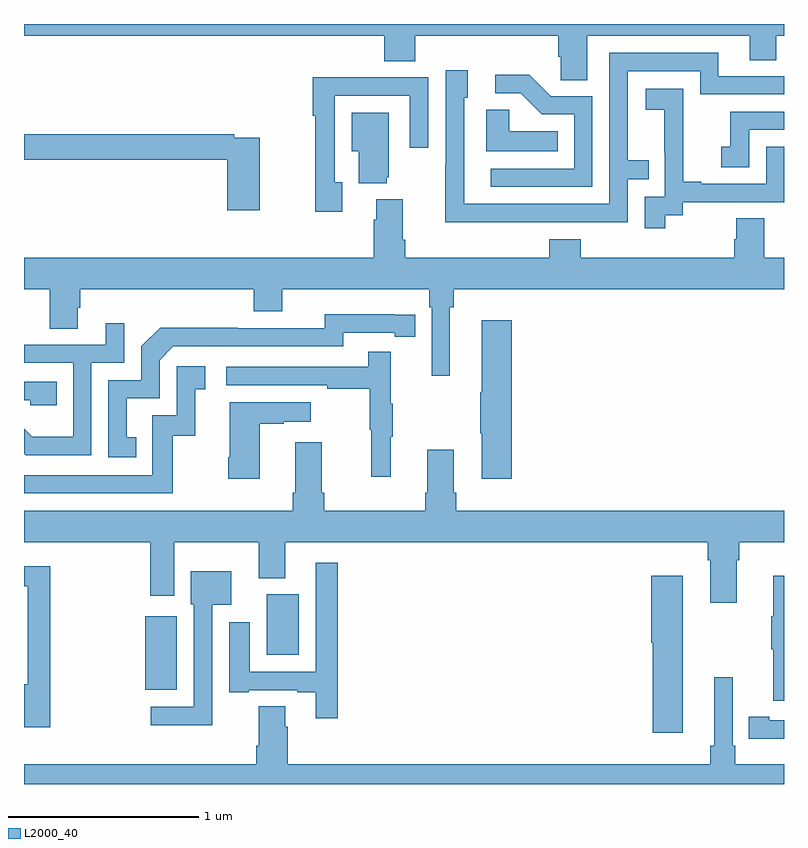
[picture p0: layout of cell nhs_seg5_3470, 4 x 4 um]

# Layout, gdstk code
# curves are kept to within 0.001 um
import gdstk
lib = gdstk.Library(unit=1e-6, precision=1e-09)
def R(c, l, rs):  # rectangles x0, y0, x1, y1
    for r in rs: c.add(gdstk.rectangle(r[:2], r[2:], *l))
def P(c, l, *ps):  # polygons
    for p in ps: c.add(gdstk.Polygon(p, *l))
L2000_40 = (2000, 40)

nhs_seg5_3470 = lib.new_cell('nhs_seg5_3470')
R(nhs_seg5_3470, L2000_40, [(315.638,877.295,315.805,877.681), (316.277,877.478,316.447,877.798)])
P(nhs_seg5_3470, L2000_40, [(317.965,880.736),(318.821,880.736),(318.821,880.609),(318.96,880.609),(318.96,880.736),(319,880.736),(319,880.799),(315,880.799),(315,880.736),(316.895,880.736),(316.895,880.603),(317.06,880.603),(317.06,880.736),(317.813,880.736),(317.813,880.627),(317.826,880.627),(317.826,880.504),(317.965,880.504)],
  [(317.681,879.756),(318.177,879.756),(318.177,879.981),(318.287,879.981),(318.287,880.082),(318.177,880.082),(318.177,880.551),(318.558,880.551),(318.558,880.428),(319,880.428),(319,880.524),(318.655,880.524),(318.655,880.647),(318.081,880.647),(318.081,879.852),(317.316,879.852),(317.316,880.41),(317.335,880.41),(317.335,880.555),(317.22,880.555),(317.22,880.061),(317.218,880.061),(317.218,879.755),(317.681,879.755)],
  [(317.991,880.419),(317.772,880.419),(317.659,880.532),(317.481,880.532),(317.481,880.434),(317.615,880.434),(317.726,880.323),(317.895,880.323),(317.895,880.038),(317.457,880.038),(317.457,879.942),(317.991,879.942)],
  [(316.675,879.966),(316.635,879.966),(316.635,880.422),(317.031,880.422),(317.031,880.149),(317.127,880.149),(317.127,880.518),(316.811,880.518),(316.811,880.52),(316.519,880.52),(316.519,880.315),(316.534,880.315),(316.534,879.81),(316.675,879.81)],
  [(318.376,879.793),(318.468,879.793),(318.468,879.861),(319,879.861),(319,880.152),(318.906,880.152),(318.906,879.957),(318.565,879.957),(318.565,879.97),(318.47,879.97),(318.47,880.253),(318.471,880.253),(318.471,880.459),(318.273,880.459),(318.273,880.349),(318.371,880.349),(318.371,880.121),(318.372,880.121),(318.372,879.891),(318.267,879.891),(318.267,879.723),(318.376,879.723)],
  [(317.81,880.234),(317.553,880.234),(317.553,880.349),(317.432,880.349),(317.432,880.13),(317.81,880.13)],
  [(318.816,880.242),(319,880.242),(319,880.338),(318.718,880.338),(318.718,880.153),(318.669,880.153),(318.669,880.044),(318.816,880.044)],
  [(316.91,879.993),(316.921,879.993),(316.921,880.333),(316.724,880.333),(316.724,880.13),(316.763,880.13),(316.763,879.962),(316.91,879.962)],
  [(316.24,880.2),(316.106,880.2),(316.106,880.22),(315,880.22),(315,880.084),(316.07,880.084),(316.07,879.819),(316.24,879.819)],
  [(317.242,879.308),(317.261,879.308),(317.261,879.404),(319,879.404),(319,879.568),(318.897,879.568),(318.897,879.776),(318.749,879.776),(318.749,879.666),(318.737,879.666),(318.737,879.568),(317.93,879.568),(317.93,879.667),(317.765,879.667),(317.765,879.568),(317.006,879.568),(317.006,879.664),(316.993,879.664),(316.993,879.877),(316.853,879.877),(316.853,879.77),(316.841,879.77),(316.841,879.568),(315,879.568),(315,879.404),(315.136,879.404),(315.136,879.196),(315.283,879.196),(315.283,879.306),(315.296,879.306),(315.296,879.404),(316.208,879.404),(316.208,879.287),(316.36,879.287),(316.36,879.404),(317.132,879.404),(317.132,879.308),(317.145,879.308),(317.145,878.949),(317.242,878.949)],
  [(315.59,878.625),(315.541,878.625),(315.541,878.829),(315.714,878.829),(315.714,879.03),(315.786,879.102),(316.68,879.102),(316.68,879.174),(316.952,879.174),(316.952,879.154),(317.06,879.154),(317.06,879.27),(316.584,879.271),(316.584,879.198),(316.124,879.198),(316.124,879.2),(315.716,879.2),(315.618,879.102),(315.618,878.925),(315.444,878.925),(315.444,878.52),(315.59,878.52)],
  [(317.567,879.241),(317.408,879.241),(317.408,878.861),(317.401,878.861),(317.401,878.644),(317.408,878.644),(317.408,878.406),(317.567,878.406)],
  [(315.354,879.015),(315.528,879.015),(315.528,879.223),(315.431,879.223),(315.431,879.111),(315,879.111),(315,879.015),(315.258,879.015),(315.258,878.626),(315.044,878.626),(315,878.67),(315,878.537),(315.008,878.529),(315.354,878.529)],
  [(316.931,878.627),(316.942,878.627),(316.942,878.801),(316.931,878.801),(316.931,879.073),(316.813,879.073),(316.813,878.994),(316.065,878.994),(316.065,878.898),(316.597,878.898),(316.597,878.878),(316.821,878.878),(316.821,878.664),(316.828,878.664),(316.828,878.415),(316.931,878.415)],
  [(315.784,878.631),(315.902,878.631),(315.902,878.877),(315.955,878.877),(315.955,878.998),(315.804,878.998),(315.804,878.739),(315.675,878.739),(315.675,878.424),(315,878.424),(315,878.328),(315.784,878.328)],
  [(315.173,878.916),(315,878.916),(315,878.82),(315.033,878.82),(315.033,878.793),(315.173,878.793)],
  [(316.24,878.695),(316.367,878.695),(316.367,878.705),(316.51,878.705),(316.51,878.809),(316.082,878.809),(316.082,878.518),(316.075,878.518),(316.075,878.406),(316.24,878.406)],
  [(318.751,877.976),(318.764,877.976),(318.764,878.072),(319,878.072),(319,878.236),(317.276,878.236),(317.276,878.332),(317.263,878.332),(317.263,878.557),(317.123,878.557),(317.123,878.332),(317.111,878.332),(317.111,878.236),(316.58,878.236),(316.58,878.332),(316.567,878.332),(316.567,878.599),(316.427,878.599),(316.427,878.332),(316.415,878.332),(316.415,878.236),(315,878.236),(315,878.072),(315.665,878.072),(315.665,877.791),(315.79,877.791),(315.79,878.072),(316.235,878.072),(316.235,877.883),(316.375,877.883),(316.375,878.072),(318.599,878.072),(318.599,877.976),(318.611,877.976),(318.611,877.752),(318.751,877.752)],
  [(316.652,877.963),(316.536,877.963),(316.536,877.389),(316.189,877.389),(316.189,877.651),(316.079,877.651),(316.079,877.281),(316.183,877.281),(316.183,877.293),(316.439,877.293),(316.439,877.281),(316.535,877.281),(316.535,877.146),(316.652,877.146)],
  [(315.137,877.945),(315,877.945),(315,877.839),(315.021,877.839),(315.021,877.323),(315,877.323),(315,877.098),(315.137,877.098)],
  [(315.99,877.742),(316.09,877.742),(316.09,877.918),(315.878,877.918),(315.878,877.746),(315.894,877.746),(315.894,877.206),(315.666,877.206),(315.666,877.109),(315.99,877.109)],
  [(319,877.894),(318.944,877.894),(318.944,877.681),(318.933,877.681),(318.933,877.507),(318.944,877.507),(318.944,877.236),(319,877.236)],
  [(318.466,877.894),(318.302,877.894),(318.302,877.542),(318.308,877.542),(318.308,877.068),(318.466,877.068)],
  [(316.375,877.1),(316.375,877.208),(316.235,877.208),(316.235,877),(316.223,877),(316.223,876.904),(315,876.904),(315,876.799),(319,876.799),(319,876.904),(318.743,876.904),(318.743,877),(318.729,877),(318.729,877.36),(318.632,877.36),(318.632,877),(318.613,877),(318.613,876.904),(316.388,876.904),(316.388,877.1)],
  [(319,877.134),(318.922,877.134),(318.922,877.154),(318.814,877.154),(318.814,877.038),(318.922,877.038),(318.922,877.037),(319,877.037)])

lib.write_gds('nhs_seg5_3470.gds')
